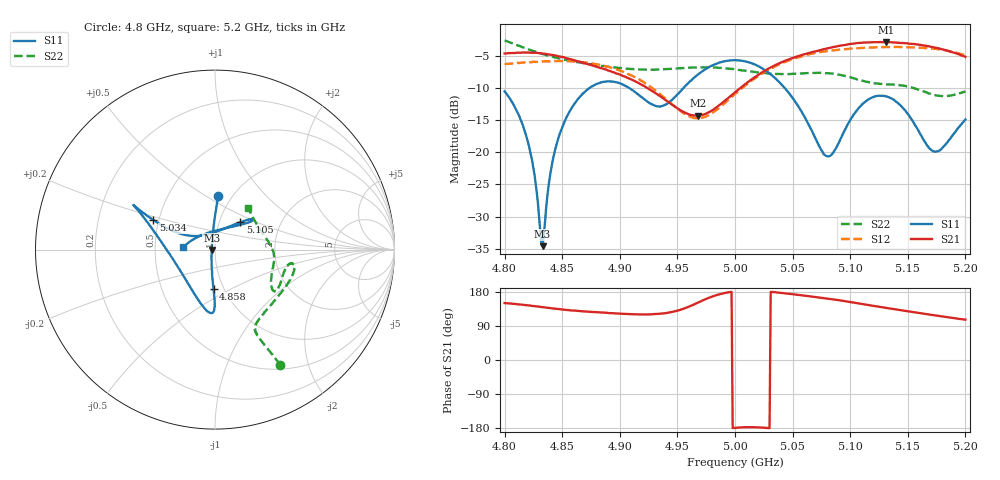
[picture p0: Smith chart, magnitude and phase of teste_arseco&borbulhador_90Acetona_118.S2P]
! Network Analyzer HP8722D
! Hewlett-Packard
! Data name: Linha & Wilkinson
! Saver's name: Rodrigo Anjos
! Comments: Teste da utilização de aquisição
! continua pelo VNA HP8722D
! Time and date: 17/4/2025 12:02
!  Frequency  S11  S21  S12  S22
# HZ  S  MA R 50
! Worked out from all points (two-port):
!   401 points, 4.8 GHz to 5.2 GHz, reference 50 ohm
!   highest |S21| = -2.89 dB at 5.131 GHz (marker M1); lowest = -14.3 dB at 4.968 GHz (marker M2)
!   |S21| within 3 dB of the highest: start of sweep to 4.863 GHz; 5.042 GHz to end of sweep
!   lowest |S11| = -34.6 dB at 4.833 GHz (marker M3), VSWR 1.04, Z = 48.2 - j0.264 ohm
!   |S11| at or under -10 dB: start of sweep to 4.874 GHz; 4.908 GHz to 4.956 GHz (47.8 MHz wide, 0.969 % of centre); 5.043 GHz to end of sweep
!   |S22| runs from -11.3 to -2.7 dB; largest |S21 - S12| = 1.3
!   S11 on the Smith chart (normalised r, x): 4.8 GHz: 0.87, +0.56; 4.858 GHz: 0.90, -0.41; 5.034 GHz: 0.47, +0.18; 5.105 GHz: 1.26, +0.40; 5.2 GHz: 0.70, +0.02
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4.8e9  0.2968 86.6  0.5843 150.2  0.483 -111.5  0.7367 -60.4
4.811e9  0.2056 89.2  0.5927 147.1  0.4947 -111.2  0.6768 -61.2
4.82e9  0.1222 94.0  0.5938 144.4  0.4991 -110.8  0.6319 -61.9
4.825e9  0.07528 99.9  0.5914 142.4  0.503 -110.4  0.6099 -62.3
4.831e9  0.0241 137.3  0.5866 140.1  0.5056 -110.0  0.5859 -62.8
4.833e9  0.01863 -171.6  0.5816 139.5  0.5057 -109.9  0.5782 -62.9
4.839e9  0.06204 -107.8  0.5714 137.2  0.5075 -109.4  0.5573 -63.3
4.843e9  0.097 -100.9  0.566 135.6  0.5091 -109.3  0.5458 -63.6
4.858e9  0.2185 -92.1  0.5247 131.0  0.5072 -109.1  0.5098 -63.7
4.867e9  0.279 -90.6  0.4986 128.8  0.499 -109.3  0.4941 -63.2
4.898e9  0.3471 -96.7  0.4068 122.9  0.4353 -112.9  0.4523 -55.2
4.934e9  0.227 -147.8  0.2754 121.8  0.2872 -116.0  0.4378 -34.7
4.968e9  0.4012 158.4  0.1919 151.6  0.1837 -84.3  0.4544 -16.9
5e9  0.5179 151.4  0.2917 -179.1  0.2832 -49.4  0.4389 -10.1
5.034e9  0.3822 154.2  0.4695 178.9  0.4595 -43.9  0.4062 -15.8
5.067e9  0.145 148.4  0.5985 167.3  0.5828 -47.3  0.4116 -30.0
5.082e9  0.09314 100.9  0.6454 161.4  0.6139 -50.1  0.409 -34.3
5.105e9  0.207 47.4  0.6998 150.5  0.6404 -55.2  0.3702 -32.2
5.131e9  0.2711 37.6  0.7167 137.6  0.6553 -63.2  0.3367 -14.8
5.134e9  0.2656 37.5  0.7127 136.2  0.6545 -64.2  0.3356 -12.4
5.173e9  0.1012 102.2  0.6507 118.1  0.6338 -77.8  0.2787 20.5
5.2e9  0.1794 175.7  0.549 106.5  0.5643 -87.1  0.2958 50.9
